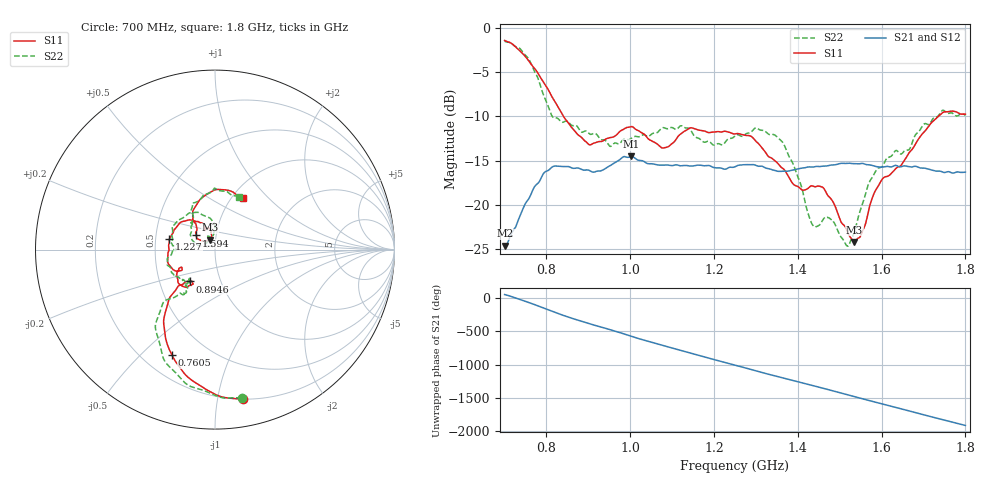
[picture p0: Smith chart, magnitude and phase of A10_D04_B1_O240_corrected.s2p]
! Created with skrf 1.9.0 (http://scikit-rf.org).
# Hz S RI R 50.0
!freq ReS11 ImS11 ReS21 ImS21 ReS12 ImS12 ReS22 ImS22
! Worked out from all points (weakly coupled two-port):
!   1601 points, 700 MHz to 1.8 GHz, reference 50 ohm
!   highest |S21| = -14.53 dB at 1.002 GHz (marker M1); lowest = -24.6 dB at 701.4 MHz (marker M2)
!   lowest |S11| = -24.2 dB at 1.535 GHz (marker M3), VSWR 1.13, Z = 47.1 + j5.25 ohm
!   |S11| at or under -10 dB: 840.5 MHz to 1.735 GHz (894.9 MHz wide, 69.5 % of centre)
!   |S22| runs from -24.7 to -1.5 dB; largest |S21 - S12| = 0.0034
!   S11 on the Smith chart (normalised r, x): 700 MHz: 0.20, -1.19; 760.5 MHz: 0.32, -0.62; 894.6 MHz: 0.71, -0.27; 1.227 GHz: 0.59, +0.08; 1.594 GHz: 0.80, +0.13; 1.8 GHz: 1.12, +0.72
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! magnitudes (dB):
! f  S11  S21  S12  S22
! 700 MHz  -1.4  -24.6  -24.4  -1.5
! 701.4 MHz  -1.5  -24.6  -24.2  -1.5
! 760.5 MHz  -4.0  -19.1  -18.9  -3.8
! 814.1 MHz  -7.9  -15.7  -15.7  -10.0
! 883.6 MHz  -12.4  -16.0  -15.9  -11.8
! 894.6 MHz  -12.9  -16.1  -16.1  -11.7
! 952.3 MHz  -12.4  -15.6  -15.6  -13.4
! 1.002 GHz  -11.2  -14.5  -14.6  -12.5
! 1.067 GHz  -13.2  -15.5  -15.4  -11.7
! 1.143 GHz  -11.3  -15.6  -15.6  -11.5
! 1.227 GHz  -11.7  -16.0  -15.9  -12.9
! 1.25 GHz  -12.0  -15.7  -15.6  -12.2
! 1.361 GHz  -15.8  -16.2  -16.2  -12.8
! 1.434 GHz  -17.9  -15.7  -15.7  -22.2
! 1.476 GHz  -19.2  -15.5  -15.5  -21.5
! 1.517 GHz  -22.9  -15.3  -15.3  -24.6
! 1.535 GHz  -24.2  -15.3  -15.3  -23.1
! 1.569 GHz  -20.6  -15.5  -15.5  -17.6
! 1.594 GHz  -17.7  -15.7  -15.7  -15.8
! 1.617 GHz  -16.7  -15.7  -15.6  -14.6
! 1.742 GHz  -9.7  -16.2  -16.2  -9.5
! 1.8 GHz  -9.8  -16.3  -16.3  -9.9
